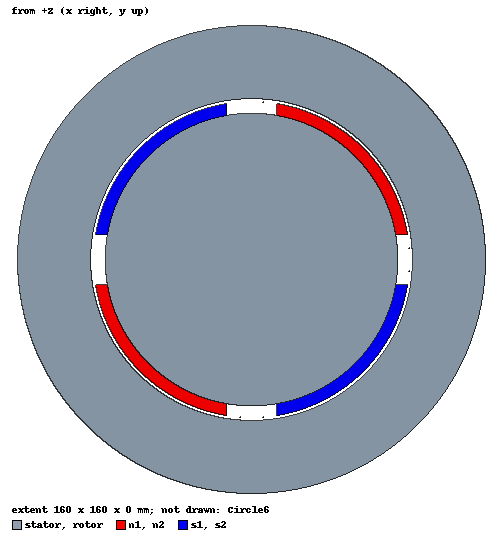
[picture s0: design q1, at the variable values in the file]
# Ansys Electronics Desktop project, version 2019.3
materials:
  vacuum: permittivity=1
  M15_29G: permeability{HUnit=A_per_meter BUnit=tesla curve (0, 0) (63.662, 0.6) (71.62, 0.71) (79.577, 0.8) (159.155, 1.22) (238.732, 1.32) (318.31, 1.375) (397.887, 1.41) (477.465, 1.43) (557.042, 1.45) (636.62, 1.46) (716.197, 1.475) (795.775, 1.48) (1591.55, 1.54) (2387.32, 1.59) (3183.1, 1.63) (3978.87, 1.65) (4774.65, 1.68) (5570.42, 1.7) (6366.2, 1.72) (7161.97, 1.74) (7957.75, 1.76) (15915.5, 1.875) (23873.2, 1.96) (27852.1, 2)} conductivity=1960000 core_loss_type="Electrical Steel" core_loss_kh=138.7 core_loss_kc=0.409 mass_density=7650
  M27_29G: permeability{HUnit=A_per_meter BUnit=tesla curve (0, 0) (120, 0.8) (200, 1) (280, 1.1) (400, 1.2) (503, 1.325) (767, 1.375) (1215, 1.425) (1895, 1.475) (2900, 1.525) (4265, 1.575) (6063.5, 1.63) (7938.5, 1.68) (9918.5, 1.725) (13244.2, 1.785) (16732.3, 1.835) (20185.6, 1.875) (26135.6, 1.925) (35685.6, 1.975) (59685.6, 2.025) (97685.6, 2.075)} conductivity=2000000 core_loss_type="Electrical Steel" core_loss_kh=196.8 core_loss_kc=0.417 mass_density=7650
  NdFe42: CoordinateSystemType=Cylindrical permittivity=1 permeability=1.05 conductivity=625000 magnetic_coercivity{Magnitude=-995000A_per_meter DirComp1=1 DirComp2=0 DirComp3=0} lande_g_factor=2
  NdFe42s: CoordinateSystemType=Cylindrical permittivity=1 permeability=1.05 conductivity=625000 magnetic_coercivity{Magnitude=-995000A_per_meter DirComp1=-1 DirComp2=0 DirComp3=0} lande_g_factor=2

design q1 (Maxwell 2D, Magnetostatic, XY geometry, model units mm)
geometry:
  rotor [M27_29G] = circle(normal=Z, centre=(0mm, 0mm, 0mm), radius=50mm)
  stator [M27_29G] = circle(normal=Z, centre=(0mm, 0mm, 0mm), radius=80mm)
  Circle3 = circle(normal=Z, centre=(0mm, 0mm, 0mm), radius=55mm)
  stator.subtract(Circle3)
  n1 [NdFe42] = circle(normal=Z, centre=(0mm, 0mm, 0mm), radius=54mm)
  Circle5 = circle(normal=Z, centre=(0mm, 0mm, 0mm), radius=50mm)
  n1.subtract(Circle5)
  Polyline3 = polyline(z=0mm, xy in mm: (-8.4474611, 53.33517) (3.5527137e-15, 54) (8.4474611, 53.33517), AngularArc from point 0 over 3 centre=(0mm, 0mm, 0mm) angle=-18deg plane=XY)
  Polyline3.sweep_along_vector((0mm, -4mm, 0mm))
  Polyline3.duplicate_around_axis(axis=Z, angle=180deg, total=2, attached)
  n1.subtract(Polyline3)
  Rectangle1 = rectangle(corner=(-8.4474611mm, 53.33517mm, 0mm), x_size=16.894922mm, y_size=-104.67034mm)
  n1.subtract(Rectangle1)
  Polyline4 = polyline(z=0mm, xy in mm: (53.33517, 8.4474611) (54, -7.1054274e-15) (53.33517, -8.4474611), AngularArc from point 0 over 3 centre=(0mm, 0mm, 0mm) angle=-18deg plane=XY)
  Polyline4.sweep_along_vector((-6mm, 0mm, 0mm))
  Polyline4.duplicate_around_axis(axis=Z, angle=180deg, total=2, attached)
  n1.subtract(Polyline4)
  n1.split(plane=YZ, keep=PositiveOnly)
  n1.split(plane=ZX, keep=PositiveOnly)
  s1 [NdFe42s], n2 [NdFe42], s2 [NdFe42s] = n1.duplicate_around_axis(axis=Z, angle=90deg, total=4)
  Circle6 [vacuum] = circle(normal=Z, centre=(0mm, 0mm, 0mm), radius=120mm)
  Polyline5 [non-model] = polyline(z=0mm, xy in mm: (54.5, 0) (3.3371625e-15, 54.5) (-54.5, 6.6743251e-15), AngularArc from point 0 over 3 centre=(0mm, 0mm, 0mm) angle=180deg plane=XY)
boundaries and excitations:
  VectorPotential1: Vector Potential Edges=Circle6.edge(1 of 1) Value=0
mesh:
  initial mesh: MeshMethod=AnsoftTAU
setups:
  Setup1: Magnetostatic MaximumPasses=10 MinimumPasses=3 MinimumConvergedPasses=2 PercentRefinement=30 PercentError=1 NonLinearResidual=1e-07
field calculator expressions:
  bvec = Fundamental_Quantity(22)
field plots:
  Mag_B1, B_Vector1: B over rotor, stator, n1, s1, n2, s2, Circle6 on Setup1 : LastAdaptive
  Mesh1: MeshPlots over rotor, stator, n1, s1, n2, s2, Circle6 on Setup1 : LastAdaptive
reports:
  Air-gap Flux Density Distributiıon: Mag_B vs Distance on Setup1 : LastAdaptive
